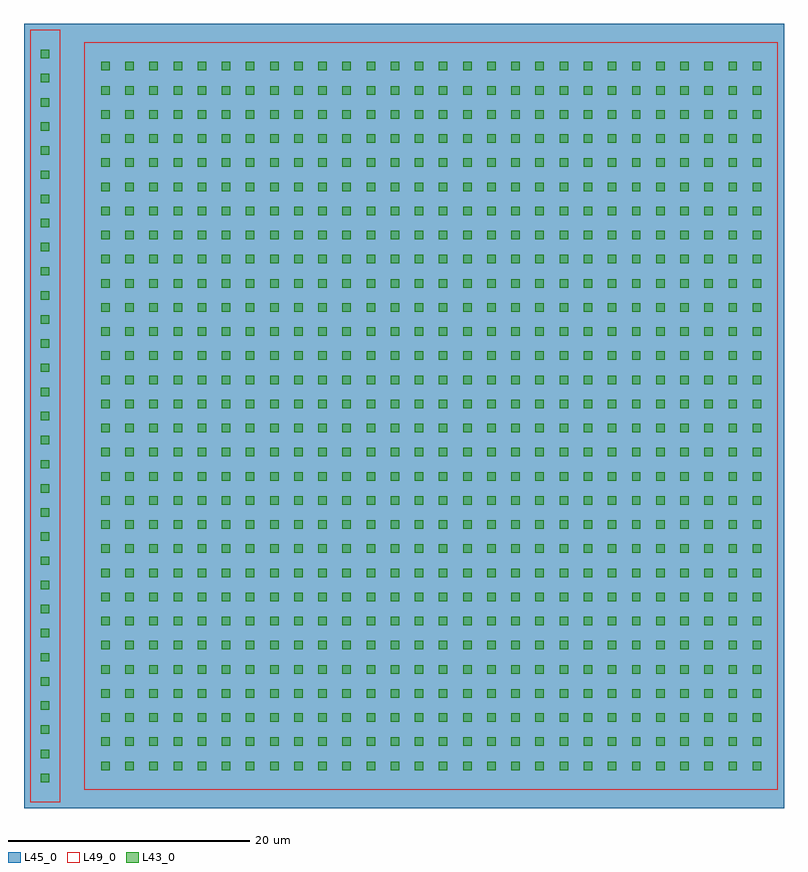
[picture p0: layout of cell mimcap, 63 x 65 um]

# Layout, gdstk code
import gdstk
lib = gdstk.Library(unit=1e-6, precision=1e-09)
def R(c, l, rs):  # rectangles x0, y0, x1, y1
    for r in rs: c.add(gdstk.rectangle(r[:2], r[2:], *l))
L43_0 = (43, 0)
L45_0 = (45, 0)
L49_0 = (49, 0)

compass_layerm2_size2p5_ = lib.new_cell('compass_layerM2_size2p5__64')
R(compass_layerm2_size2p5_, L45_0, [(-1.25,-32,1.25,32)])

compass_layermtop_size2p = lib.new_cell('compass_layerMTOP_size2p5__64')
R(compass_layermtop_size2p, L49_0, [(-1.25,-32,1.25,32)])

via_layervia2 = lib.new_cell('via_layerVIA2')
R(via_layervia2, L43_0, [(-0.35,-0.35,0.35,0.35)])

via_stack_a4424d9c = lib.new_cell('via_stack_a4424d9c')
via_stack_a4424d9c.add(gdstk.Reference(compass_layerm2_size2p5_, (0,0)))
via_stack_a4424d9c.add(gdstk.Reference(compass_layermtop_size2p, (0,0)))
r = gdstk.Reference(via_layervia2, (0,-30)); r.repetition = gdstk.Repetition(1, 31, v1=(2,0), v2=(0,2)); via_stack_a4424d9c.add(r)

compass_layerm2_size57p5 = lib.new_cell('compass_layerM2_size57p5__62p0')
R(compass_layerm2_size57p5, L45_0, [(-28.75,-31,28.75,31)])

compass_layermtop_size57 = lib.new_cell('compass_layerMTOP_size57p5__62p0')
R(compass_layermtop_size57, L49_0, [(-28.75,-31,28.75,31)])

via_stack_1ba36eff = lib.new_cell('via_stack_1ba36eff')
via_stack_1ba36eff.add(gdstk.Reference(compass_layerm2_size57p5, (0,0)))
via_stack_1ba36eff.add(gdstk.Reference(compass_layermtop_size57, (0,0)))
r = gdstk.Reference(via_layervia2, (-27,-29)); r.repetition = gdstk.Repetition(28, 30, v1=(2,0), v2=(0,2)); via_stack_1ba36eff.add(r)

mimcap = lib.new_cell('mimcap')
R(mimcap, L45_0, [(-1.75,-32.5,61.25,32.5)])
mimcap.add(gdstk.Reference(via_stack_a4424d9c, (0,0)))
mimcap.add(gdstk.Reference(via_stack_1ba36eff, (32,0)))

lib.write_gds('mimcap.gds')
